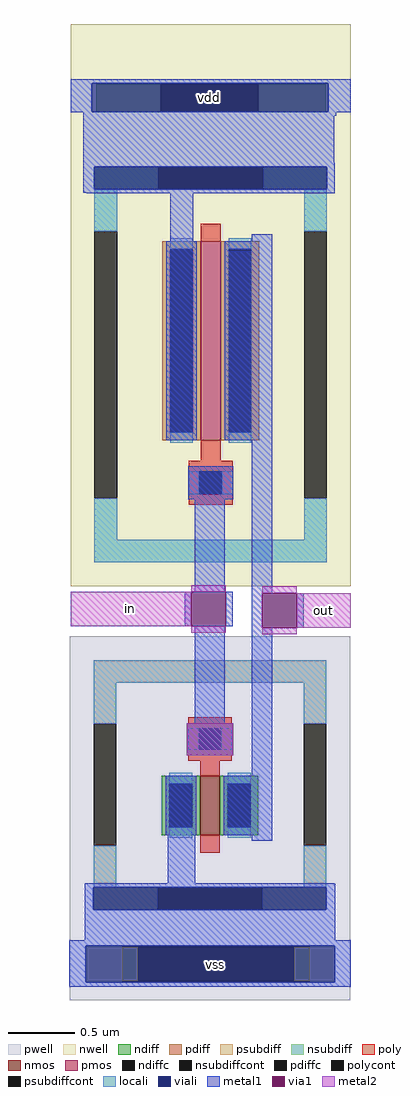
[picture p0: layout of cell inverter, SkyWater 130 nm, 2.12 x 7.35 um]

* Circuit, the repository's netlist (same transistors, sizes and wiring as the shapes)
**.subckt inverter out in vss vdd
*.opin out
*.ipin in
*.ipin vss
*.ipin vdd
XM1 out in vss vss sky130_fd_pr__nfet_01v8 L=0.15 W=0.45 nf=1 ad='int((nf+1)/2) * W/nf * 0.29' as='int((nf+2)/2) * W/nf * 0.29'
+ pd='2*int((nf+1)/2) * (W/nf + 0.29)' ps='2*int((nf+2)/2) * (W/nf + 0.29)' nrd='0.29 / W' nrs='0.29 / W'
+ sa=0 sb=0 sd=0 mult=1 m=1 
XM2 out in vdd vdd sky130_fd_pr__pfet_01v8 L=0.15 W=1.5 nf=1 ad='int((nf+1)/2) * W/nf * 0.29' as='int((nf+2)/2) * W/nf * 0.29'
+ pd='2*int((nf+1)/2) * (W/nf + 0.29)' ps='2*int((nf+2)/2) * (W/nf + 0.29)' nrd='0.29 / W' nrs='0.29 / W'
+ sa=0 sb=0 sd=0 mult=1 m=1 
**.ends
** flattened .save nodes
.end

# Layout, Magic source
magic
tech sky130A
magscale 1 2
<< nwell >>
rect -52 1135 370 1317
<< pwell >>
rect 123 216 193 264
rect -53 -153 369 -52
<< psubdiff >>
rect 26 -125 50 -73
rect 284 -125 308 -73
<< nsubdiff >>
rect -13 1185 84 1227
rect 231 1185 332 1227
<< psubdiffcont >>
rect 50 -125 284 -73
<< nsubdiffcont >>
rect 84 1185 231 1227
<< poly >>
rect 123 216 193 264
<< viali >>
rect -20 1227 336 1228
rect -20 1185 84 1227
rect 84 1185 231 1227
rect 231 1185 336 1227
rect -16 1068 334 1102
rect -18 -17 333 17
rect -29 -73 346 -71
rect -29 -125 50 -73
rect 50 -125 284 -73
rect 284 -125 346 -73
rect -29 -126 346 -125
<< metal1 >>
rect -52 1228 370 1234
rect -52 1185 -20 1228
rect 336 1185 370 1228
rect -52 1184 370 1185
rect -33 1179 348 1184
rect -33 1108 345 1179
rect -33 1102 346 1108
rect -33 1068 -16 1102
rect 334 1068 346 1102
rect -33 1063 346 1068
rect -28 1062 346 1063
rect 98 702 133 1062
rect 221 975 252 1000
rect 186 698 252 975
rect 125 601 193 651
rect 135 462 180 601
rect 120 410 130 462
rect 182 410 192 462
rect 221 460 252 698
rect 135 264 180 410
rect 221 408 237 460
rect 289 408 299 460
rect 123 216 193 264
rect 94 23 136 175
rect 221 173 252 408
rect 182 98 252 173
rect 221 87 252 98
rect -30 22 345 23
rect -31 17 347 22
rect -31 -17 -18 17
rect 333 -17 347 17
rect -31 -63 347 -17
rect -54 -71 370 -63
rect -54 -126 -29 -71
rect 346 -126 370 -71
rect -54 -133 370 -126
<< via1 >>
rect 130 410 182 462
rect 237 408 289 460
<< metal2 >>
rect 130 462 182 472
rect -52 410 130 462
rect 237 460 289 470
rect 130 400 182 410
rect 236 408 237 460
rect 289 408 370 460
rect 237 398 289 408
rect 123 216 193 264
use sky130_fd_pr__pfet_01v8_7KP3BC  sky130_fd_pr__pfet_01v8_7KP3BC_0
transform 1 0 159 0 1 804
box -211 -334 211 334
use sky130_fd_pr__nfet_01v8_A4WUDG  sky130_fd_pr__nfet_01v8_A4WUDG_0
transform 1 0 158 0 1 171
box -211 -224 211 224
<< labels >>
rlabel metal2 -52 410 130 462 1 in
rlabel metal2 289 408 370 460 1 out
rlabel nwell 84 1185 231 1227 1 vdd
rlabel pwell 50 -125 284 -73 1 vss
<< end >>

# cell sky130_fd_pr__pfet_01v8_7KP3BC: kit device sky130_fd_pr__pfet_01v8, w 1.5 l 0.15 m 1 nf 1 diffcov 100 polycov 100 guard 1 glc 1 grc 1 gtc 1 gbc 0 tbcov 100 rlcov 100 topc 0 botc 1 poverlap 0 doverlap 1 lmin 0.15 wmin 0.42 compatible {sky130_fd_pr__pfet_01v8 sky130_fd_pr__pfet_01v8_lvt sky130_fd_pr__pfet_01v8_hvt sky130_fd_pr__pfet_g5v0d10v5} full_metal 1 viasrc 100 viadrn 100 viagate 100 viagb 0 viagr 0 viagl 0 viagt 0

# cell sky130_fd_pr__nfet_01v8_A4WUDG: kit device sky130_fd_pr__nfet_01v8, w 0.450 l 0.150 m 1 nf 1 diffcov 100 polycov 100 guard 1 glc 1 grc 1 gtc 0 gbc 1 tbcov 100 rlcov 100 topc 1 botc 0 poverlap 0 doverlap 1 lmin 0.15 wmin 0.42 compatible {sky130_fd_pr__nfet_01v8 sky130_fd_pr__nfet_01v8_lvt sky130_fd_bs_flash__special_sonosfet_star sky130_fd_pr__nfet_g5v0d10v5 sky130_fd_pr__nfet_05v0_nvt} full_metal 1 viasrc 100 viadrn 100 viagate 100 viagb 0 viagr 0 viagl 0 viagt 0
